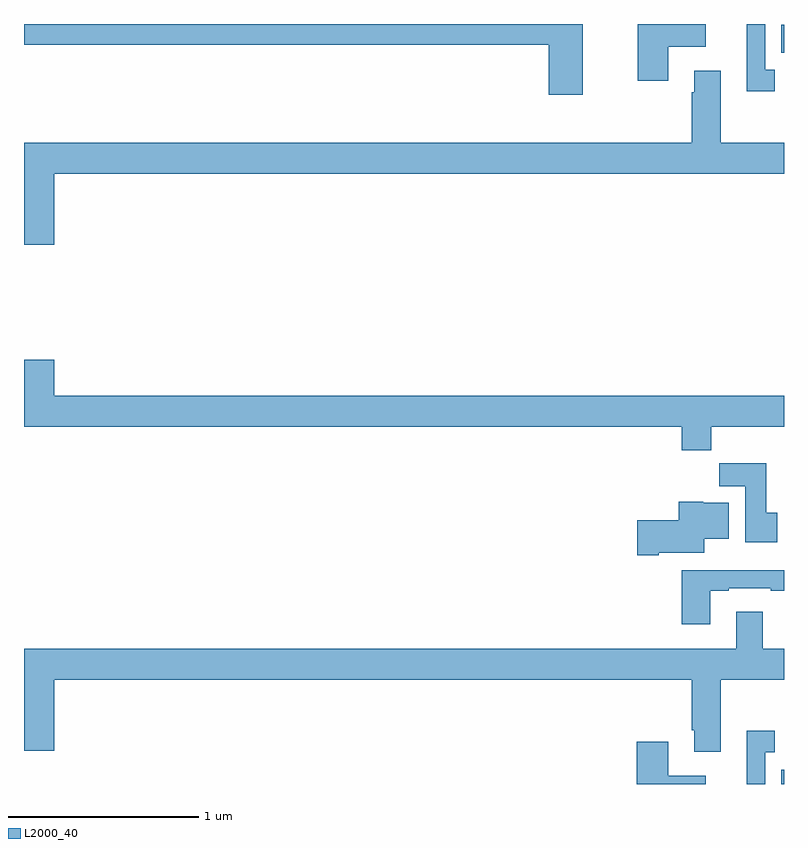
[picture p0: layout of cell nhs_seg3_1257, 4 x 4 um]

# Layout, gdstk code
import gdstk
lib = gdstk.Library(unit=1e-6, precision=1e-09)
def R(c, l, rs):  # rectangles x0, y0, x1, y1
    for r in rs: c.add(gdstk.rectangle(r[:2], r[2:], *l))
def P(c, l, *ps):  # polygons
    for p in ps: c.add(gdstk.Polygon(p, *l))
L2000_40 = (2000, 40)

nhs_seg3_1257 = lib.new_cell('nhs_seg3_1257')
R(nhs_seg3_1257, L2000_40, [(180.985,668.4,181,668.475), (180.985,672.25,181,672.397)])
P(nhs_seg3_1257, L2000_40, [(179.94,672.4),(177,672.4),(177,672.292),(179.762,672.292),(179.762,672.027),(179.94,672.027)],
  [(180.391,672.281),(180.589,672.281),(180.589,672.4),(180.229,672.4),(180.229,672.102),(180.391,672.102)],
  [(180.952,672.158),(180.9,672.158),(180.9,672.4),(180.803,672.4),(180.803,672.045),(180.952,672.045)],
  [(177.16,671.612),(181,671.612),(181,671.776),(180.667,671.776),(180.667,672.154),(180.527,672.154),(180.527,672.041),(180.515,672.041),(180.515,671.776),(177,671.776),(177,671.238),(177.16,671.238)],
  [(180.617,670.28),(181,670.28),(181,670.444),(177.16,670.444),(177.16,670.633),(177,670.633),(177,670.28),(180.461,670.28),(180.461,670.156),(180.617,670.156)],
  [(180.964,669.828),(180.907,669.828),(180.907,670.087),(180.658,670.087),(180.658,669.968),(180.797,669.968),(180.797,669.672),(180.964,669.672)],
  [(180.34,669.617),(180.58,669.617),(180.58,669.692),(180.709,669.692),(180.709,669.88),(180.576,669.88),(180.576,669.886),(180.446,669.886),(180.446,669.788),(180.228,669.788),(180.228,669.605),(180.34,669.605)],
  [(180.613,669.417),(180.709,669.417),(180.709,669.429),(180.929,669.429),(180.929,669.417),(181,669.417),(181,669.526),(180.461,669.526),(180.461,669.24),(180.613,669.24)],
  [(180.667,668.948),(181,668.948),(181,669.112),(180.889,669.112),(180.889,669.307),(180.749,669.307),(180.749,669.112),(177,669.112),(177,668.574),(177.16,668.574),(177.16,668.948),(180.515,668.948),(180.515,668.683),(180.527,668.683),(180.527,668.571),(180.667,668.571)],
  [(180.9,668.567),(180.952,668.567),(180.952,668.68),(180.803,668.68),(180.803,668.4),(180.9,668.4)],
  [(180.589,668.443),(180.391,668.443),(180.391,668.623),(180.224,668.623),(180.224,668.4),(180.589,668.4)])

lib.write_gds('nhs_seg3_1257.gds')
